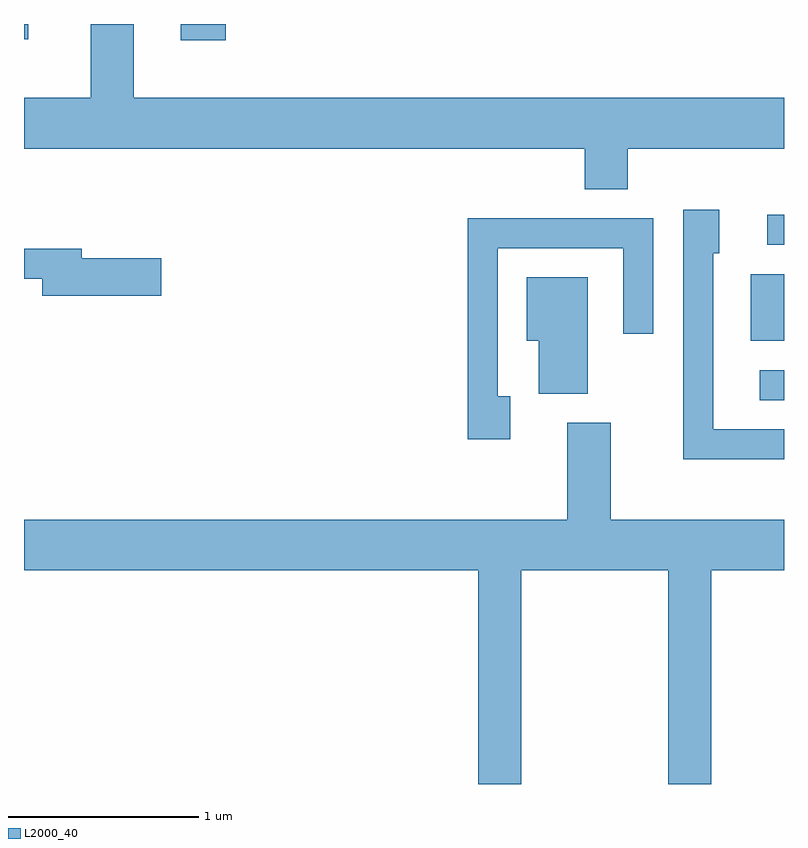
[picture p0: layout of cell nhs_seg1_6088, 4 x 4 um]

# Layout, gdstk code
import gdstk
lib = gdstk.Library(unit=1e-6, precision=1e-09)
def R(c, l, rs):  # rectangles x0, y0, x1, y1
    for r in rs: c.add(gdstk.rectangle(r[:2], r[2:], *l))
def P(c, l, *ps):  # polygons
    for p in ps: c.add(gdstk.Polygon(p, *l))
L2000_40 = (2000, 40)

nhs_seg1_6088 = lib.new_cell('nhs_seg1_6088')
R(nhs_seg1_6088, L2000_40, [(371.483,973.731,371.611,973.889), (371.436,974.046,371.611,974.394), (371.523,974.551,371.611,974.709), (368.436,975.626,368.674,975.712), (367.611,975.633,367.634,975.712)])
P(nhs_seg1_6088, L2000_40, [(370.789,975.056),(371.611,975.056),(371.611,975.324),(368.189,975.324),(368.189,975.712),(367.961,975.712),(367.961,975.324),(367.611,975.324),(367.611,975.056),(370.561,975.056),(370.561,974.841),(370.789,974.841)],
  [(371.611,973.579),(371.239,973.579),(371.239,974.506),(371.269,974.506),(371.269,974.734),(371.081,974.734),(371.081,973.421),(371.611,973.421)],
  [(370.169,973.754),(370.104,973.754),(370.104,974.531),(370.766,974.531),(370.766,974.083),(370.924,974.083),(370.924,974.689),(369.946,974.689),(369.946,973.526),(370.169,973.526)],
  [(368.334,974.479),(367.914,974.479),(367.914,974.529),(367.611,974.529),(367.611,974.371),(367.706,974.371),(367.706,974.281),(368.334,974.281)],
  [(370.579,974.379),(370.256,974.379),(370.256,974.046),(370.321,974.046),(370.321,973.766),(370.579,973.766)],
  [(370.229,972.836),(371.001,972.836),(371.001,971.712),(371.229,971.712),(371.229,972.836),(371.611,972.836),(371.611,973.104),(370.699,973.104),(370.699,973.614),(370.471,973.614),(370.471,973.104),(367.611,973.104),(367.611,972.836),(370.001,972.836),(370.001,971.712),(370.229,971.712)])

lib.write_gds('nhs_seg1_6088.gds')
